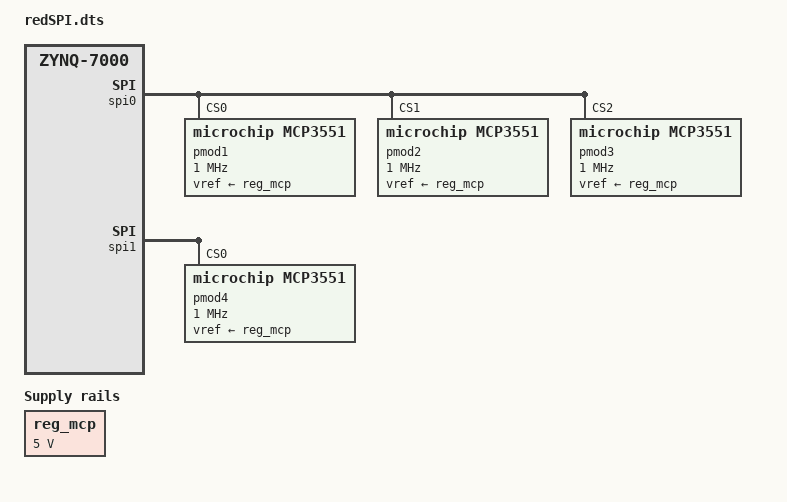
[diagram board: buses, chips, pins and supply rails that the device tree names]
/dts-v1/;
/plugin/;

/ {
	compatible = "xlnx,zynq-7000";
	
	fragment0 {
		target = <&fpga_full>;
		__overlay__ {
			firmware-name = "redSPI_wrapper.bit.bin";
		};
	};

	fragment1 {
		target-path = "/";
		__overlay__ {
			#address-cells = <1>;
			/* #size-cells = <0>; */
			reg_mcp: vref-reg@0 {
				compatible ="regulator-fixed";
				reg = <1>;
				regulator-name = "vref-reg";
				regulator-min-microvolt = <5000000>;
				regulator-max-microvolt = <5000000>;
			};
		};
	};

	/* PMOD1, PMOD2, PMOD3 */
	fragment2 {
		target = <&spi0>;
		__overlay__ {
			#address-cells = <1>;
			#size-cells = <0>;
			status = "okay";
			num-cs = <3>;
			is-decoded-cs = <0>;
			pmod1: pmod1@0 {
				compatible = "microchip,mcp3551";
				vref-supply = <&reg_mcp>;
				spi-max-frequency = <1000000>;
				reg = <0>;
			};

			pmod2: pmod2@1 {
				compatible = "microchip,mcp3551";
				vref-supply = <&reg_mcp>;
				spi-max-frequency = <1000000>;
				reg = <1>;
			};

			pmod3: pmod3@2 {
				compatible = "microchip,mcp3551";
				vref-supply = <&reg_mcp>;
				spi-max-frequency = <1000000>;
				reg = <2>;
			};
		};
	};

	/* PMOD4 */
	fragment3 {
		target = <&spi1>;
		__overlay__ {
			#address-cells = <1>;
			#size-cells = <0>;
			status = "okay";
			num-cs = <1>;
			is-decoded-cs = <0>;
			pmod4: pmod4@0 {
				compatible = "microchip,mcp3551";
				vref-supply = <&reg_mcp>;
				spi-max-frequency = <1000000>;
				reg = <0>;
			};
		};
	};
};

